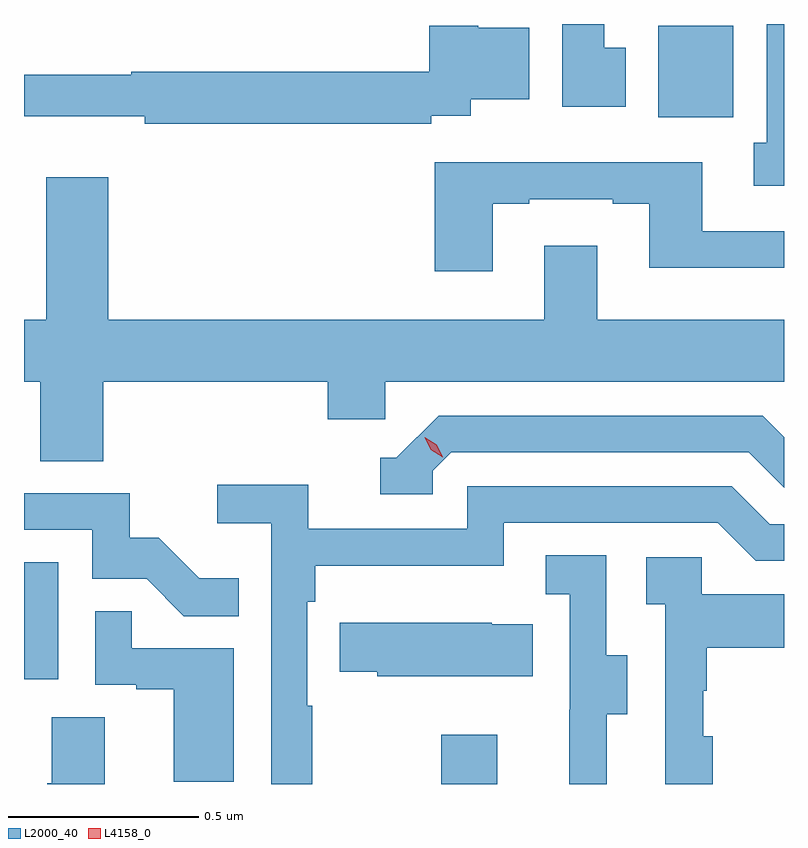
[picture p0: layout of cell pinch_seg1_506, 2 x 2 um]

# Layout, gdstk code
import gdstk
lib = gdstk.Library(unit=1e-6, precision=1e-09)
def R(c, l, rs):  # rectangles x0, y0, x1, y1
    for r in rs: c.add(gdstk.rectangle(r[:2], r[2:], *l))
def P(c, l, *ps):  # polygons
    for p in ps: c.add(gdstk.Polygon(p, *l))
L2000_40 = (2000, 40)
L4158_0 = (4158, 0)

pinch_seg1_506 = lib.new_cell('pinch_seg1_506')
R(pinch_seg1_506, L2000_40, [(1143.07,537.354,1143.217,537.484), (1141.972,537.63,1142.062,537.937), (1143.641,539.108,1143.838,539.35)])
P(pinch_seg1_506, L2000_40, [(1143.972,539.354),(1143.926,539.354),(1143.926,539.042),(1143.893,539.042),(1143.893,538.929),(1143.972,538.929)],
  [(1143.556,539.292),(1143.499,539.292),(1143.499,539.354),(1143.389,539.354),(1143.389,539.136),(1143.556,539.136)],
  [(1143.044,539.112),(1143.147,539.112),(1143.147,539.156),(1143.301,539.156),(1143.301,539.344),(1143.168,539.344),(1143.168,539.35),(1143.039,539.35),(1143.039,539.228),(1142.254,539.228),(1142.254,539.221),(1141.972,539.221),(1141.972,539.111),(1142.29,539.111),(1142.29,539.092),(1143.044,539.092)],
  [(1143.205,538.881),(1143.301,538.881),(1143.301,538.893),(1143.521,538.893),(1143.521,538.881),(1143.617,538.881),(1143.617,538.712),(1143.972,538.712),(1143.972,538.809),(1143.757,538.809),(1143.757,538.99),(1143.053,538.99),(1143.053,538.704),(1143.205,538.704)],
  [(1142.18,538.412),(1142.771,538.412),(1142.771,538.314),(1142.922,538.314),(1142.922,538.412),(1143.972,538.412),(1143.972,538.576),(1143.481,538.576),(1143.481,538.771),(1143.341,538.771),(1143.341,538.576),(1142.194,538.576),(1142.194,538.951),(1142.03,538.951),(1142.03,538.576),(1141.972,538.576),(1141.972,538.412),(1142.015,538.412),(1142.015,538.204),(1142.18,538.204)],
  [(1143.048,538.179),(1143.096,538.227),(1143.879,538.227),(1143.972,538.134),(1143.972,538.267),(1143.916,538.323),(1143.063,538.323),(1142.952,538.212),(1142.909,538.212),(1142.909,538.116),(1143.048,538.116)],
  [(1142.731,537.56),(1142.718,537.56),(1142.718,537.833),(1142.738,537.833),(1142.738,537.929),(1143.234,537.929),(1143.234,538.041),(1143.798,538.041),(1143.897,537.942),(1143.972,537.942),(1143.972,538.038),(1143.934,538.038),(1143.835,538.137),(1143.138,538.137),(1143.138,538.026),(1142.72,538.026),(1142.72,538.142),(1142.481,538.142),(1142.481,538.04),(1142.622,538.04),(1142.622,537.354),(1142.731,537.354)],
  [(1142.537,537.895),(1142.433,537.895),(1142.326,538.002),(1142.25,538.002),(1142.25,538.119),(1141.972,538.119),(1141.972,538.023),(1142.151,538.023),(1142.151,537.894),(1142.295,537.894),(1142.393,537.796),(1142.537,537.796)],
  [(1143.505,537.538),(1143.559,537.538),(1143.559,537.693),(1143.504,537.693),(1143.504,537.956),(1143.345,537.956),(1143.345,537.853),(1143.408,537.853),(1143.408,537.549),(1143.407,537.549),(1143.407,537.354),(1143.505,537.354)],
  [(1143.784,537.48),(1143.759,537.48),(1143.759,537.599),(1143.769,537.599),(1143.769,537.713),(1143.972,537.713),(1143.972,537.853),(1143.756,537.853),(1143.756,537.951),(1143.609,537.951),(1143.609,537.827),(1143.66,537.827),(1143.66,537.354),(1143.784,537.354)],
  [(1142.524,537.711),(1142.255,537.711),(1142.255,537.809),(1142.16,537.809),(1142.16,537.615),(1142.267,537.615),(1142.267,537.603),(1142.366,537.603),(1142.366,537.36),(1142.524,537.36)],
  [(1143.311,537.775),(1143.203,537.775),(1143.203,537.778),(1142.803,537.778),(1142.803,537.649),(1142.901,537.649),(1142.901,537.638),(1143.311,537.638)],
  [(1142.185,537.53),(1142.045,537.53),(1142.045,537.356),(1142.033,537.356),(1142.033,537.354),(1142.185,537.354)])
P(pinch_seg1_506, L4158_0, [(1143.074,538.214),(1143.043,538.234),(1143.026,538.266),(1143.026,538.267),(1143.027,538.267),(1143.058,538.247),(1143.074,538.215),(1143.074,538.214)])

lib.write_gds('pinch_seg1_506.gds')
